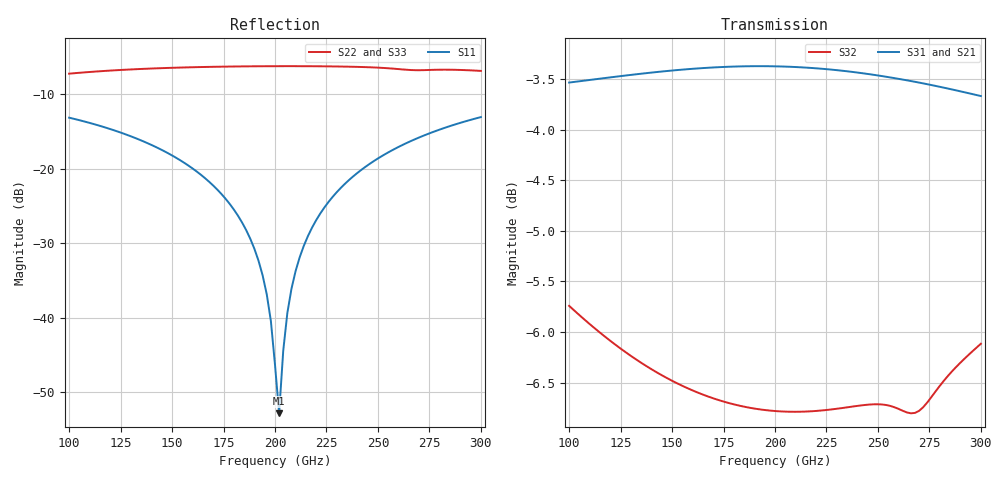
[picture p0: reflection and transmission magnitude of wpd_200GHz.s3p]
#  GHZ S DB R 50
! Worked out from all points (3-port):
!   101 points, 100 GHz to 300 GHz, reference 50 ohm
!   strongest paths, dB at 100 GHz, 150 GHz, 200 GHz, 250 GHz, 300 GHz:
!     S31: -3.5, -3.4, -3.4, -3.5, -3.7
!     S21: -3.5, -3.4, -3.4, -3.5, -3.7
!     S32: -5.7, -6.5, -6.8, -6.7, -6.1
!   lowest |S11| = -52.8 dB at 202 GHz (marker M1), VSWR 1.00, Z = 50.2 - j0.0744 ohm
!   |S11| at or under -10 dB: start of sweep to end of sweep
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100  -13.14 133.8  -3.54 -43.9  -3.53 -43.9
     -3.54 -43.9  -7.22 51.7  -5.74 -96.8
     -3.53 -43.9  -5.74 -96.8  -7.25 51.7
176  -24.03 97.5  -3.39 -78.8  -3.38 -78.8
     -3.39 -78.8  -6.28 7.1  -6.69 -158.9
     -3.38 -78.8  -6.69 -158.9  -6.30 7.1
192  -32.36 86.9  -3.39 -86.3  -3.37 -86.3
     -3.39 -86.3  -6.23 -0.6  -6.76 -171.6
     -3.37 -86.3  -6.76 -171.6  -6.25 -0.6
200  -46.33 61.4  -3.39 -90.1  -3.37 -90.1
     -3.39 -90.1  -6.22 -4.4  -6.78 -178.0
     -3.37 -90.1  -6.78 -178.0  -6.24 -4.4
202  -52.84 -19.0  -3.39 -91.0  -3.38 -91.1
     -3.39 -91.0  -6.22 -5.3  -6.78 -179.5
     -3.38 -91.1  -6.78 -179.5  -6.24 -5.4
204  -44.43 -72.2  -3.39 -92.0  -3.38 -92.0
     -3.39 -92.0  -6.22 -6.3  -6.79 178.9
     -3.38 -92.0  -6.79 178.9  -6.24 -6.3
208  -36.11 -87.4  -3.39 -93.8  -3.38 -93.9
     -3.39 -93.8  -6.22 -8.1  -6.79 175.7
     -3.38 -93.9  -6.79 175.7  -6.24 -8.2
222  -26.00 -99.5  -3.41 -100.4  -3.40 -100.5
     -3.41 -100.4  -6.23 -14.8  -6.78 164.5
     -3.40 -100.5  -6.78 164.5  -6.25 -14.9
252  -18.28 -114.9  -3.48 -114.5  -3.47 -114.6
     -3.48 -114.5  -6.45 -29.7  -6.72 139.9
     -3.47 -114.6  -6.72 139.9  -6.46 -29.8
300  -13.06 -137.2  -3.68 -136.7  -3.67 -136.7
     -3.68 -136.7  -6.85 -54.7  -6.12 102.0
     -3.67 -136.7  -6.12 102.0  -6.86 -54.9
